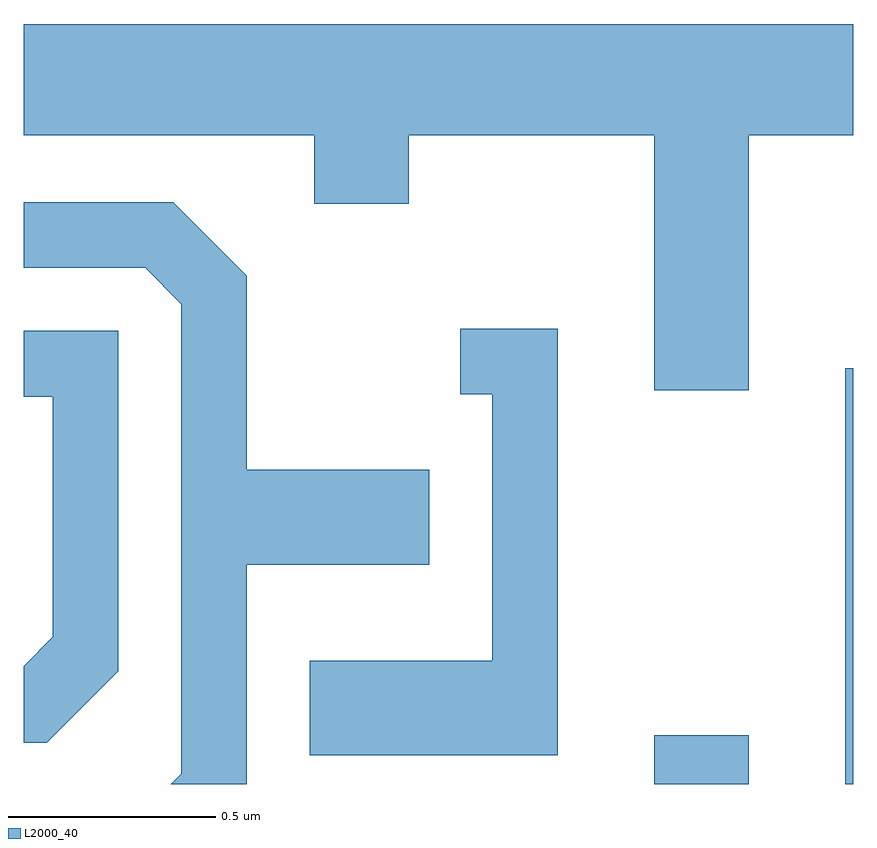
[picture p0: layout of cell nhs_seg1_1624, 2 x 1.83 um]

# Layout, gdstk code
import gdstk
lib = gdstk.Library(unit=1e-6, precision=1e-09)
def R(c, l, rs):  # rectangles x0, y0, x1, y1
    for r in rs: c.add(gdstk.rectangle(r[:2], r[2:], *l))
def P(c, l, *ps):  # polygons
    for p in ps: c.add(gdstk.Polygon(p, *l))
L2000_40 = (2000, 40)

nhs_seg1_1624 = lib.new_cell('nhs_seg1_1624')
R(nhs_seg1_1624, L2000_40, [(198.131,975.712,198.359,975.829), (198.591,975.712,198.611,976.714)])
P(nhs_seg1_1624, L2000_40, [(198.359,977.276),(198.611,977.276),(198.611,977.544),(196.611,977.544),(196.611,977.276),(197.311,977.276),(197.311,977.111),(197.539,977.111),(197.539,977.276),(198.131,977.276),(198.131,976.661),(198.359,976.661)],
  [(197.149,976.241),(197.589,976.241),(197.589,976.469),(197.149,976.469),(197.149,976.937),(196.972,977.114),(196.611,977.114),(196.611,976.956),(196.904,976.956),(196.991,976.869),(196.991,975.737),(196.966,975.712),(197.149,975.712)],
  [(197.899,976.809),(197.663,976.809),(197.663,976.651),(197.741,976.651),(197.741,976.009),(197.301,976.009),(197.301,975.781),(197.899,975.781)],
  [(196.839,975.984),(196.839,976.804),(196.611,976.804),(196.611,976.646),(196.681,976.646),(196.681,976.067),(196.611,975.996),(196.611,975.811),(196.667,975.811)])

lib.write_gds('nhs_seg1_1624.gds')
